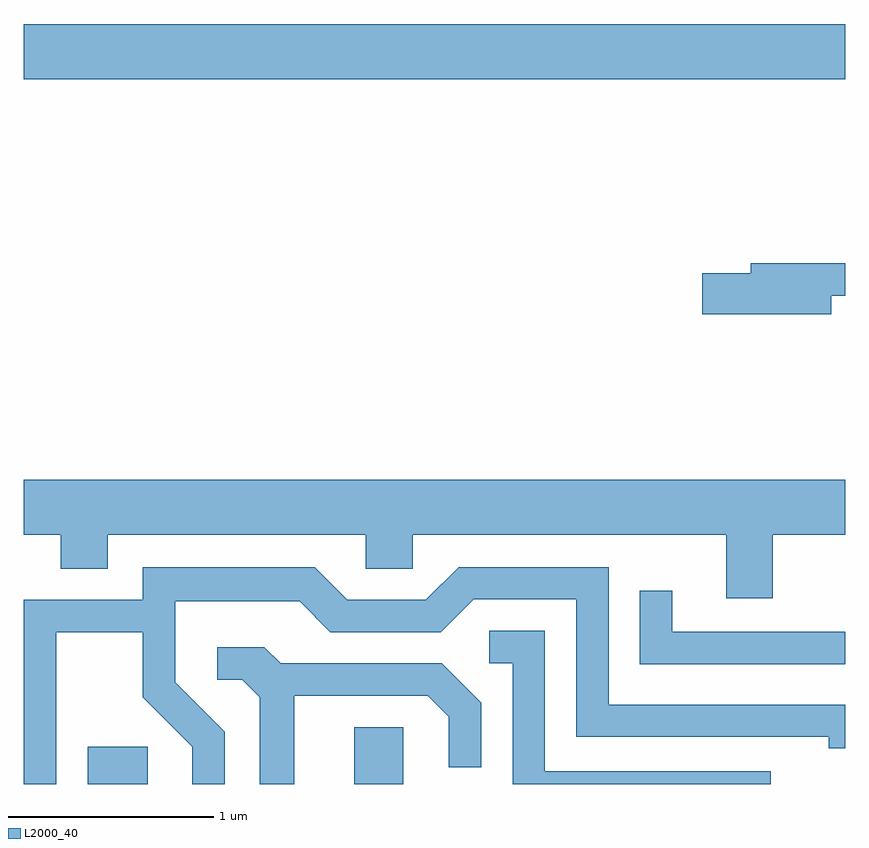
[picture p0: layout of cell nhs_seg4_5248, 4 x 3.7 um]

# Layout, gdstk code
import gdstk
lib = gdstk.Library(unit=1e-6, precision=1e-09)
def R(c, l, rs):  # rectangles x0, y0, x1, y1
    for r in rs: c.add(gdstk.rectangle(r[:2], r[2:], *l))
def P(c, l, *ps):  # polygons
    for p in ps: c.add(gdstk.Polygon(p, *l))
L2000_40 = (2000, 40)

nhs_seg4_5248 = lib.new_cell('nhs_seg4_5248')
R(nhs_seg4_5248, L2000_40, [(339.921,1277.982,340.214,1278.164), (341.221,1277.982,341.459,1278.259), (339.611,1281.416,343.611,1281.684)])
P(nhs_seg4_5248, L2000_40, [(343.544,1280.361),(343.611,1280.361),(343.611,1280.519),(343.151,1280.519),(343.151,1280.469),(342.916,1280.469),(342.916,1280.271),(343.544,1280.271)],
  [(343.259,1279.196),(343.611,1279.196),(343.611,1279.464),(339.611,1279.464),(339.611,1279.196),(339.791,1279.196),(339.791,1279.031),(340.019,1279.031),(340.019,1279.196),(341.276,1279.196),(341.276,1279.031),(341.504,1279.031),(341.504,1279.196),(343.031,1279.196),(343.031,1278.886),(343.259,1278.886)],
  [(339.769,1278.721),(340.191,1278.721),(340.191,1278.404),(340.431,1278.164),(340.431,1277.982),(340.589,1277.982),(340.589,1278.237),(340.349,1278.477),(340.349,1278.871),(340.954,1278.871),(341.104,1278.721),(341.642,1278.721),(341.802,1278.881),(342.301,1278.881),(342.301,1278.211),(343.531,1278.211),(343.531,1278.156),(343.611,1278.156),(343.611,1278.369),(342.459,1278.369),(342.459,1279.039),(341.729,1279.039),(341.569,1278.879),(341.187,1278.879),(341.027,1279.039),(340.191,1279.039),(340.191,1278.879),(339.611,1278.879),(339.611,1277.982),(339.769,1277.982)],
  [(343.611,1278.724),(342.769,1278.724),(342.769,1278.923),(342.611,1278.923),(342.611,1278.566),(343.611,1278.566)],
  [(343.248,1278.044),(342.149,1278.044),(342.149,1278.729),(341.878,1278.729),(341.878,1278.571),(341.991,1278.571),(341.991,1277.982),(343.248,1277.982)],
  [(340.929,1278.411),(341.579,1278.411),(341.681,1278.309),(341.681,1278.063),(341.839,1278.063),(341.839,1278.377),(341.647,1278.569),(340.862,1278.569),(340.782,1278.649),(340.553,1278.649),(340.553,1278.491),(340.674,1278.491),(340.761,1278.404),(340.761,1277.982),(340.929,1277.982)])

lib.write_gds('nhs_seg4_5248.gds')
